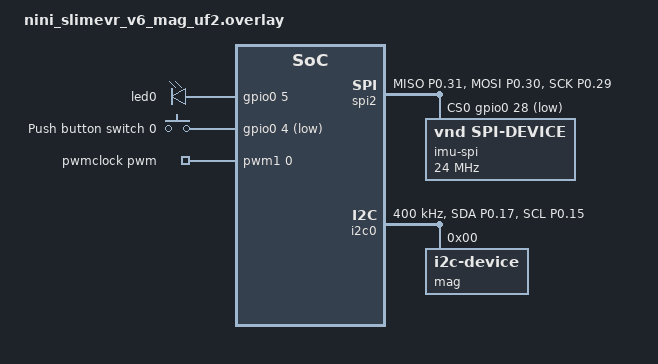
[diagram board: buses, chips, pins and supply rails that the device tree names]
/ {
	leds {
		compatible = "gpio-leds";
		led0: led_0 {
			gpios = <&gpio0 5 GPIO_OPEN_SOURCE>;
		};
	};

	buttons {
		compatible = "gpio-keys";
		button0: button_0 {
			gpios = <&gpio0 4 (GPIO_PULL_UP | GPIO_ACTIVE_LOW)>;
			label = "Push button switch 0";
		};
	};

	pwmclock: pwmclock {
		compatible = "pwm-clock";
		#clock-cells = <1>;
		pwms = <&pwm1 0 PWM_HZ(32768) PWM_POLARITY_NORMAL>;
	};

	aliases {
		sw0 = &button0;
		led0 = &led0;
		imu0 = &imu_spi;
	};
};

&pinctrl {
	spi2_default: spi2_default {
		group1 {
			psels = <NRF_PSEL(SPIM_MISO, 0, 31)>,
					<NRF_PSEL(SPIM_MOSI, 0, 30)>,
					<NRF_PSEL(SPIM_SCK,  0, 29)>;
			bias-disable;
		};
	};

	spi2_sleep: spi2_sleep {
		group1 {
			psels = <NRF_PSEL(SPIM_MISO, 0, 31)>,
					<NRF_PSEL(SPIM_MOSI, 0, 30)>,
					<NRF_PSEL(SPIM_SCK,  0, 29)>;
			bias-disable;
			low-power-enable;
		};
	};

	i2c0_default: i2c0_default {
		group1 {
			psels = <NRF_PSEL(TWIM_SDA, 0, 17)>,
					<NRF_PSEL(TWIM_SCL, 0, 15)>;
			bias-disable;
		};
	};

	i2c0_sleep: i2c0_sleep {
		group1 {
			psels = <NRF_PSEL(TWIM_SDA, 0, 17)>,
					<NRF_PSEL(TWIM_SCL, 0, 15)>;
			low-power-enable;
		};
	};
};

&spi2 {
	status = "okay";
	compatible = "nordic,nrf-spim";
	pinctrl-0 = <&spi2_default>;
	pinctrl-1 = <&spi2_sleep>;
	pinctrl-names = "default", "sleep";

	cs-gpios = <&gpio0 28 GPIO_ACTIVE_LOW>;

	imu_spi: imu@0 {
		compatible = "vnd,spi-device";
		reg = <0>;
		label = "imu-spi";
		spi-max-frequency = <DT_FREQ_M(24)>;
	};
};

&i2c0 {
	compatible = "nordic,nrf-twim";
	status = "okay";
	zephyr,concat-buf-size = <1023>;
	zephyr,flash-buf-max-size = <1023>;
	clock-frequency = <I2C_BITRATE_FAST>;
	pinctrl-0 = <&i2c0_default>;
	pinctrl-1 = <&i2c0_sleep>;
	pinctrl-names = "default", "sleep";

	mag: mag@0 {
		compatible = "i2c-device";
		label = "mag";
		reg = <0>;
	};
};


